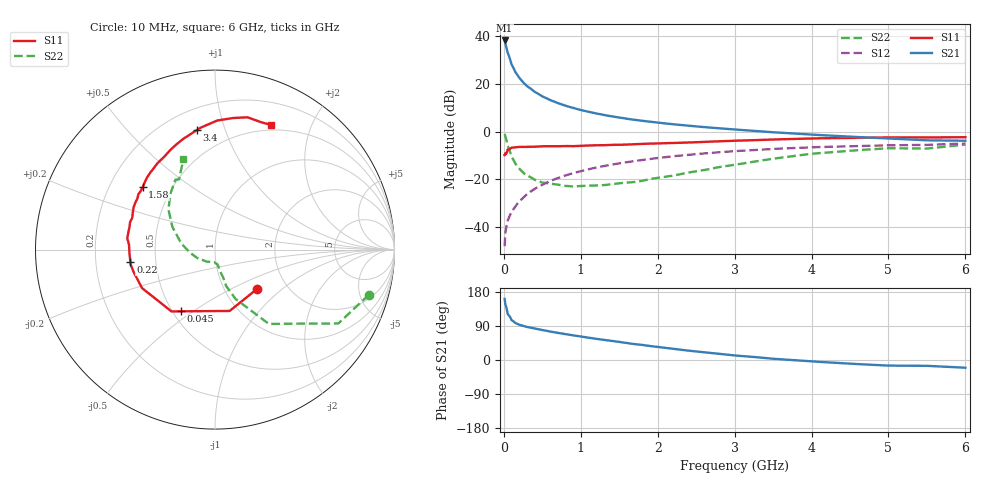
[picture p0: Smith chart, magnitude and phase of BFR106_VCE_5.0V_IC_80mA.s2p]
! Infineon Technologies  Discrete & RF Semiconductors
! BFR106
! VCE =  5.0 V,  IC =  80 mA
! Common Emitter S-Parameters:  Nov 2015
# GHz  S  MA  R  50
!  f  S11  S21  S12  S22
! GHz  MAG  ANG  MAG  ANG  MAG  ANG  MAG  ANG
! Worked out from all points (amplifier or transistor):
!   210 points, 10 MHz to 6 GHz, reference 50 ohm
!   highest |S21| = 38.3 dB at 10 MHz (marker M1)
!   |S21| within 3 dB of that: start of sweep to 34.11 MHz
!   unconditionally stable (mu >= 1): 208.8 MHz to 2.428 GHz
!   at 185 MHz: K = 0.97, MSG = 26.7 dB, |S12| = -30.0 dB
!   at 1.52 GHz: K = 1.06, MAG = 8.1 dB, |S12| = -13.2 dB
!   at 6 GHz: K = 0.99, MSG = 0.6 dB, |S12| = -5.0 dB
!   S11 on the Smith chart (normalised r, x): 10 MHz: 1.40, -0.69; 45 MHz: 0.55, -0.45; 220 MHz: 0.36, -0.06; 1.58 GHz: 0.34, +0.33; 3.4 GHz: 0.33, +0.80; 6 GHz: 0.44, +1.45
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0.01  0.3204 -43.8  82.45 161.2  0.0039 78.7  0.8934 -16.4
0.02  0.3513 -76.6  72.33 146.6  0.0074 69.7  0.8011 -30.9
0.045  0.3923 -118.8  49.11 127.2  0.0124 62.9  0.5511 -48.6
0.05  0.4213 -125.2  45.55 121.1  0.0134 62.2  0.511 -54.1
0.1  0.4596 -152.2  25.95 105.1  0.0201 64.5  0.2976 -67.4
0.15  0.4702 -164.4  17.76 97.4  0.0267 67.3  0.2117 -73.0
0.2  0.4768 -169.7  13.55 93.1  0.0339 70.6  0.1668 -73.5
0.22  0.4762 -171.6  12.47 91.9  0.0365 71.3  0.1545 -74.3
0.26  0.4765 -175.1  10.5 89.2  0.042 72.3  0.1331 -75.9
0.3  0.4772 -177.5  9.082 87.2  0.0479 72.9  0.1209 -76.9
0.4  0.4798 176.7  6.879 82.9  0.0623 73.5  0.0974 -78.5
0.5  0.493 172.7  5.513 78.9  0.0763 73.3  0.0848 -79.5
0.6  0.4924 168.6  4.621 75.1  0.091 72.4  0.0807 -82.4
0.7  0.4925 165.1  3.991 71.4  0.105 71.9  0.0767 -86.9
1.02  0.5048 154.8  2.795 61.4  0.1501 67.7  0.0723 -99.3
1.58  0.5322 139.3  1.883 45.3  0.2253 59.7  0.0842 -129.9
2.02  0.5644 128.2  1.532 34.0  0.2806 52.9  0.1081 -153.8
3.1  0.649 104.0  1.078 10.4  0.3968 36.4  0.2131 162.8
3.4  0.6736 98.6  0.995 5.2  0.4242 31.9  0.2545 154.2
4.1  0.7227 87.6  0.847 -4.9  0.4732 21.4  0.3522 136.9
5.1  0.7574 74.9  0.706 -14.9  0.517 8.9  0.4457 119.1
6  0.7616 65.9  0.643 -20.4  0.5615 -0.8  0.5324 109.3
